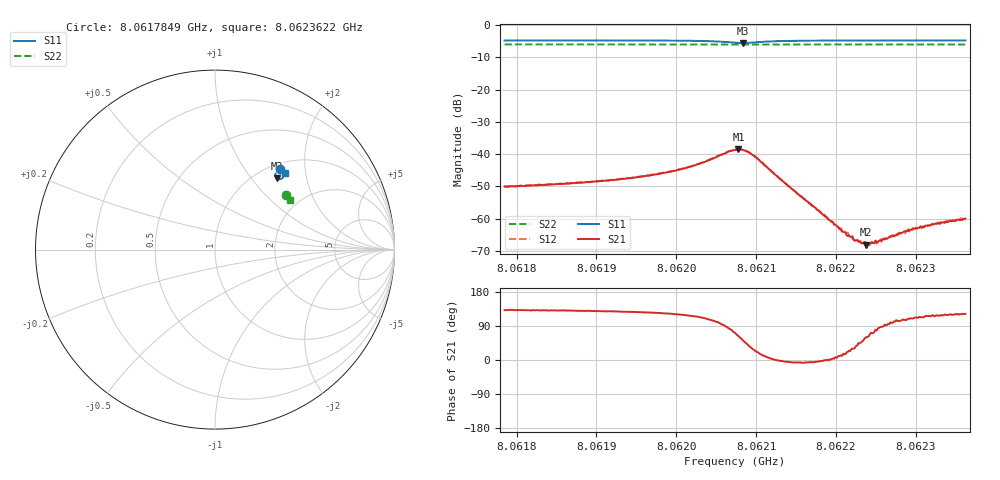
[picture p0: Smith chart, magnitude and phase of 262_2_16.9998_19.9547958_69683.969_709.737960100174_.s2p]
#  HZ  S  RI  R  50.00
! Rohde & Schwarz Vector Network Analyzer
! Rohde-Schwarz,ZNB20-2Port,1311601062101988,3.16
! Created: UTC 3/20/2024, 11:03:49 PM
! freq[Hz]  re:S11  im:S11  re:S21  im:S21  re:S12  im:S12  re:S22  im:S22
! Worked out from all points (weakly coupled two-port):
!   401 points, 8.0617849 GHz to 8.0623622 GHz, reference 50 ohm
!   highest |S21| = -38.57 dB at 8.0620779 GHz (marker M1); lowest = -68.1 dB at 8.0622381 GHz (marker M2)
!   lowest |S11| = -5.6 dB at 8.0620837 GHz (marker M3), VSWR 3.22, Z = 61.3 + j67.5 ohm
!   |S11| at or under -10 dB: nowhere
!   |S22| runs from -6.1 to -6.0 dB; largest |S21 - S12| = 0.00086
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8.06178493e9  0.3632 0.4469  -0.00208 0.00236  -0.00195 0.00249  0.3966 0.3043
8.06188162e9  0.3702 0.4408  -0.0023 0.0028  -0.00216 0.00293  0.4001 0.2993
8.06194223e9  0.375 0.4356  -0.00252 0.00338  -0.00237 0.00355  0.4022 0.2964
8.06197831e9  0.3783 0.431  -0.00274 0.00406  -0.00251 0.00431  0.4035 0.2942
8.06201728e9  0.3821 0.4222  -0.00291 0.00566  -0.00257 0.00588  0.4049 0.2921
8.06207356e9  0.3591 0.3921  0.00366 0.0109  0.0044 0.0108  0.4051 0.2884
8.06207789e9  0.3519 0.3932  0.00528 0.0105  0.00601 0.0103  0.4049 0.2884
8.06208367e9  0.3432 0.3981  0.00722 0.00902  0.00772 0.00867  0.4048 0.2884
8.06209232e9  0.3359 0.4109  0.00849 0.00591  0.009 0.00541  0.4049 0.2887
8.06210098e9  0.3366 0.4232  0.00805 0.00317  0.00825 0.00261  0.4056 0.289
8.06213418e9  0.3556 0.4391  0.00371 -0.000238  0.00373 -0.000476  0.4076 0.2877
8.06217026e9  0.367 0.4384  0.00156 -0.00017  0.00157 -0.000305  0.4095 0.2858
8.06220778e9  0.3735 0.4359  0.000611 0.000118  0.000618 0.000102  0.4108 0.2838
8.06221932e9  0.3748 0.4352  0.000457 0.000246  0.00048 0.000217  0.4112 0.2832
8.06223087e9  0.3763 0.4344  0.000298 0.000306  0.000338 0.000288  0.4117 0.2825
8.06223808e9  0.3772 0.4339  0.000194 0.000342  0.000208 0.00031  0.4118 0.2823
8.0622453e9  0.3779 0.4334  0.000143 0.000408  0.000147 0.000394  0.4122 0.2818
8.06225829e9  0.3792 0.4327  1.77e-05 0.000467  3.72e-05 0.00048  0.4127 0.281
8.06226695e9  0.3799 0.4321  -4.42e-05 0.000512  -5.1e-06 0.00052  0.4129 0.2807
8.06229437e9  0.3823 0.4305  -0.000233 0.000627  -0.000211 0.000612  0.4139 0.2791
8.06233766e9  0.3857 0.4278  -0.000442 0.000787  -0.000375 0.000818  0.4154 0.2771
8.0623622e9  0.3873 0.4265  -0.000523 0.000851  -0.000471 0.000857  0.4161 0.2758
